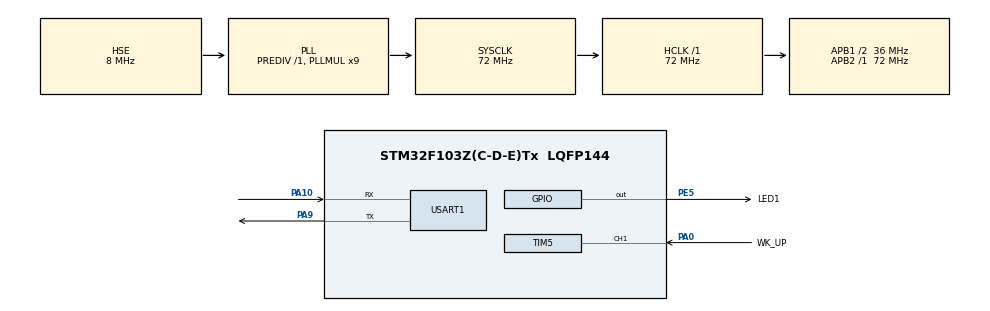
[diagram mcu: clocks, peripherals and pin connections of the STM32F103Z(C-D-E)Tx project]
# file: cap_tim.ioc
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Mcu.Family=STM32F1
Mcu.Name=STM32F103Z(C-D-E)Tx
Mcu.Package=LQFP144
NVIC.PriorityGroup=NVIC_PRIORITYGROUP_4
NVIC.TIM5_IRQn=true\:1\:0\:true\:false\:true\:true\:true\:true
OSC_IN.Mode=HSE-External-Oscillator
OSC_IN.Signal=RCC_OSC_IN
OSC_OUT.Mode=HSE-External-Oscillator
OSC_OUT.Signal=RCC_OSC_OUT
PA0-WKUP.GPIO_Label=WK_UP
PA0-WKUP.GPIO_PuPd=GPIO_PULLDOWN
PA0-WKUP.Signal=S_TIM5_CH1
PA10.Mode=Asynchronous
PA10.Signal=USART1_RX
PA13.Mode=Serial_Wire
PA13.Signal=SYS_JTMS-SWDIO
PA14.Mode=Serial_Wire
PA14.Signal=SYS_JTCK-SWCLK
PA9.Mode=Asynchronous
PA9.Signal=USART1_TX
PE5.GPIO_Label=LED1
PE5.GPIO_PuPd=GPIO_PULLUP
PE5.GPIO_Speed=GPIO_SPEED_FREQ_HIGH
PE5.PinState=GPIO_PIN_SET
PE5.Signal=GPIO_Output
ProjectManager.HeapSize=0x200
ProjectManager.StackSize=0x400
ProjectManager.TargetToolchain=Makefile
RCC.AHBFreq_Value=72000000
RCC.APB1CLKDivider=RCC_HCLK_DIV2
RCC.APB1Freq_Value=36000000
RCC.APB1TimFreq_Value=72000000
RCC.APB2Freq_Value=72000000
RCC.APB2TimFreq_Value=72000000
RCC.HCLKFreq_Value=72000000
RCC.PLLMUL=RCC_PLL_MUL9
RCC.PLLSourceVirtual=RCC_PLLSOURCE_HSE
RCC.SYSCLKFreq_VALUE=72000000
RCC.SYSCLKSource=RCC_SYSCLKSOURCE_PLLCLK
RCC.USBFreq_Value=72000000
SH.S_TIM5_CH1.0=TIM5_CH1,Input_Capture1_from_TI1
TIM5.Channel-Input_Capture1_from_TI1=TIM_CHANNEL_1
TIM5.ICFilter_CH1=0
TIM5.Prescaler=71
USART1.VirtualMode=VM_ASYNC
VP_TIM5_VS_ClockSourceINT.Mode=Internal
board=custom

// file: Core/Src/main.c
/* USER CODE BEGIN Header */
/**
  ******************************************************************************
  * @file           : main.c
  * @brief          : Main program body
  ******************************************************************************
  * @attention
  *
  * Copyright (c) 2025 STMicroelectronics.
  * All rights reserved.
  *
  * This software is licensed under terms that can be found in the LICENSE file
  * in the root directory of this software component.
  * If no LICENSE file comes with this software, it is provided AS-IS.
  *
  ******************************************************************************
  */
/* USER CODE END Header */
#include "main.h"
#include "tim.h"
#include "usart.h"
#include "gpio.h"

void SystemClock_Config(void);

/* USER CODE BEGIN 0 */
extern uint8_t TIM5CH1_CAP_STA;
extern uint16_t TIM5CH1_CAP_VAL;
/* USER CODE END 0 */

int main(void)
{
  /* USER CODE BEGIN 1 */
  uint32_t temp = 0;
  uint8_t t = 0;

  /* USER CODE END 1 */

  /* MCU Configuration--------------------------------------------------------*/

  /* Reset of all peripherals, Initializes the Flash interface and the Systick. */
  HAL_Init();

  /* Configure the system clock */
  SystemClock_Config();

  /* Initialize all configured peripherals */
  MX_GPIO_Init();
  MX_TIM5_Init();
  MX_USART1_UART_Init();

  /* Infinite loop */
  /* USER CODE BEGIN WHILE */
  while (1)
  {
    if(TIM5CH1_CAP_STA & 0x80)
    {
      temp = TIM5CH1_CAP_VAL & 0x3F;
      temp *= 65536;
      temp += TIM5CH1_CAP_VAL;
      printf("HIGH:%d us\r\n", temp);
      TIM5CH1_CAP_STA = 0;
    }
    t++;
    if(t > 20)
    {
      t = 0;
      HAL_GPIO_TogglePin(LED1_GPIO_Port, LED1_Pin);
    }
    HAL_Delay(10);
    /* USER CODE END WHILE */

  }
}

void SystemClock_Config(void)
{
  RCC_OscInitTypeDef RCC_OscInitStruct = {0};
  RCC_ClkInitTypeDef RCC_ClkInitStruct = {0};

  /** Initializes the RCC Oscillators according to the specified parameters
  * in the RCC_OscInitTypeDef structure.
  */
  RCC_OscInitStruct.OscillatorType = RCC_OSCILLATORTYPE_HSE;
  RCC_OscInitStruct.HSEState = RCC_HSE_ON;
  RCC_OscInitStruct.HSEPredivValue = RCC_HSE_PREDIV_DIV1;
  RCC_OscInitStruct.HSIState = RCC_HSI_ON;
  RCC_OscInitStruct.PLL.PLLState = RCC_PLL_ON;
  RCC_OscInitStruct.PLL.PLLSource = RCC_PLLSOURCE_HSE;
  RCC_OscInitStruct.PLL.PLLMUL = RCC_PLL_MUL9;
  if (HAL_RCC_OscConfig(&RCC_OscInitStruct) != HAL_OK)
  {
    Error_Handler();
  }

  /** Initializes the CPU, AHB and APB buses clocks
  */
  RCC_ClkInitStruct.ClockType = RCC_CLOCKTYPE_HCLK|RCC_CLOCKTYPE_SYSCLK
                              |RCC_CLOCKTYPE_PCLK1|RCC_CLOCKTYPE_PCLK2;
  RCC_ClkInitStruct.SYSCLKSource = RCC_SYSCLKSOURCE_PLLCLK;
  RCC_ClkInitStruct.AHBCLKDivider = RCC_SYSCLK_DIV1;
  RCC_ClkInitStruct.APB1CLKDivider = RCC_HCLK_DIV2;
  RCC_ClkInitStruct.APB2CLKDivider = RCC_HCLK_DIV1;

  if (HAL_RCC_ClockConfig(&RCC_ClkInitStruct, FLASH_LATENCY_2) != HAL_OK)
  {
    Error_Handler();
  }
}

void Error_Handler(void)
{
  __disable_irq();
  while (1)
  {
  }
}
